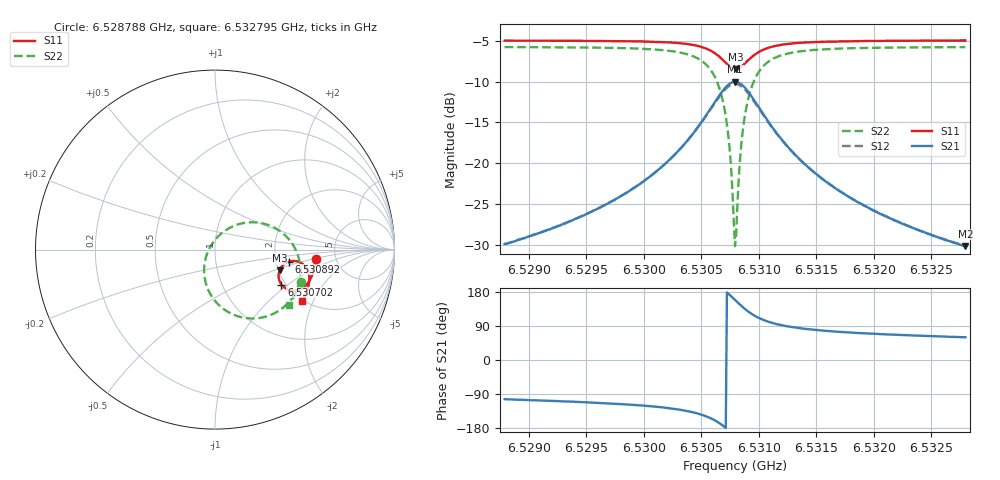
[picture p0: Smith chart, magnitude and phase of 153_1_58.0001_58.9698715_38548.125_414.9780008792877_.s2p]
#  HZ  S  RI  R  50.00
! Rohde & Schwarz Vector Network Analyzer
! Rohde-Schwarz,ZNB20-2Port,1311601062101988,3.16
! Created: UTC 3/21/2024, 12:57:06 AM
! freq[Hz]  re:S11  im:S11  re:S21  im:S21  re:S12  im:S12  re:S22  im:S22
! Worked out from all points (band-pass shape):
!   401 points, 6.528788 GHz to 6.532795 GHz, reference 50 ohm
!   highest |S21| = -10.02 dB at 6.530792 GHz (marker M1); lowest = -30.1 dB at 6.532795 GHz (marker M2)
!   |S21| within 3 dB of the highest: 6.530592 GHz to 6.530993 GHz (401.3 kHz wide, 0.00614 % of centre)
!   lowest |S11| = -8.5 dB at 6.530802 GHz (marker M3), VSWR 2.21, Z = 101 - j27.2 ohm
!   |S11| at or under -10 dB: nowhere
!   |S22| runs from -30.1 to -5.8 dB; largest |S21 - S12| = 0.013
!   S11 on the Smith chart (normalised r, x): 6.528788 GHz: 3.49, -0.53; 6.530702 GHz: 1.90, -0.90; 6.530892 GHz: 2.36, -0.38; 6.532795 GHz: 1.95, -1.66
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6.5287884e9  0.5606 -0.0521  -0.00739 -0.0312  -0.00813 -0.031  0.4814 -0.1819
6.5294595e9  0.5512 -0.1087  -0.0171 -0.0443  -0.0181 -0.044  0.4493 -0.2449
6.5301307e9  0.5241 -0.1773  -0.0516 -0.0761  -0.0539 -0.0748  0.3651 -0.3341
6.5303611e9  0.497 -0.2078  -0.0923 -0.0963  -0.0953 -0.093  0.2821 -0.3736
6.5305314e9  0.4527 -0.2278  -0.1625 -0.1034  -0.1648 -0.0963  0.1527 -0.378
6.5306316e9  0.4067 -0.2227  -0.2339 -0.0764  -0.233 -0.0662  0.0331 -0.3192
6.5307017e9  0.3704 -0.195  -0.2867 -0.0164  -0.2806 -0.00584  -0.0443 -0.208
6.5307418e9  0.3568 -0.1665  -0.3033 0.0379  -0.2939 0.0465  -0.0607 -0.1148
6.5307819e9  0.355 -0.1321  -0.2985 0.0998  -0.2872 0.1049  -0.0407 -0.0139
6.5307919e9  0.357 -0.1234  -0.2935 0.1154  -0.2819 0.1191  -0.0295 0.0101
6.5308019e9  0.3598 -0.1151  -0.2869 0.1299  -0.2753 0.1326  -0.016 0.0326
6.5308119e9  0.3635 -0.107  -0.2791 0.1437  -0.2676 0.1456  -0.000273 0.0539
6.5308319e9  0.3732 -0.0926  -0.2597 0.1686  -0.2489 0.1685  0.0361 0.0906
6.530852e9  0.3853 -0.0808  -0.2368 0.1885  -0.2269 0.187  0.0777 0.1188
6.5308921e9  0.4126 -0.0663  -0.1867 0.2125  -0.1795 0.2093  0.1646 0.149
6.5309622e9  0.457 -0.0653  -0.1091 0.215  -0.1055 0.2117  0.2948 0.1376
6.5310624e9  0.496 -0.0869  -0.0425 0.1834  -0.0407 0.1817  0.4024 0.0681
6.5312126e9  0.5191 -0.1231  -0.00199 0.1358  -0.000675 0.1351  0.4613 -0.0296
6.5314631e9  0.5255 -0.1669  0.0154 0.0889  0.0164 0.0885  0.4759 -0.129
6.5317836e9  0.5197 -0.2055  0.0184 0.0594  0.0195 0.0592  0.4649 -0.1988
6.5321342e9  0.5092 -0.2382  0.0179 0.0428  0.0187 0.0425  0.4473 -0.2465
6.5327954e9  0.4852 -0.289  0.0156 0.027  0.0162 0.0266  0.4129 -0.3063
